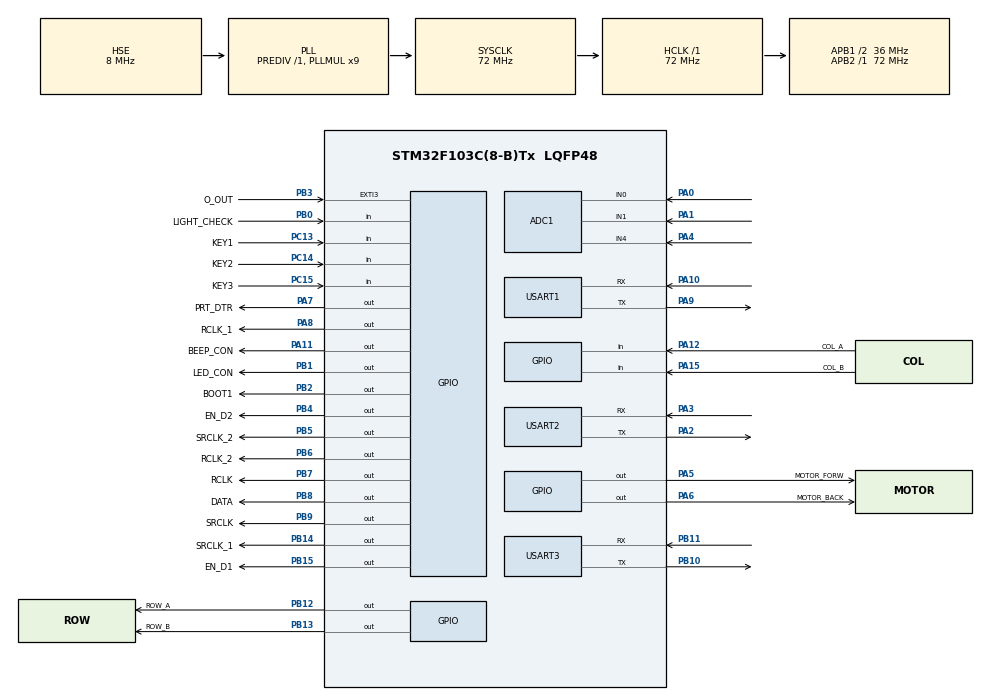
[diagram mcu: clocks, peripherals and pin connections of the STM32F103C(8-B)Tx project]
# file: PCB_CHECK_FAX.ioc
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ADC1.Channel-0\#ChannelRegularConversion=ADC_CHANNEL_0
ADC1.Channel-1\#ChannelRegularConversion=ADC_CHANNEL_1
ADC1.Channel-2\#ChannelRegularConversion=ADC_CHANNEL_4
ADC1.DiscontinuousConvMode=ENABLE
ADC1.NbrOfConversion=3
ADC1.NbrOfConversionFlag=1
ADC1.Rank-0\#ChannelRegularConversion=1
ADC1.Rank-1\#ChannelRegularConversion=2
ADC1.Rank-2\#ChannelRegularConversion=3
ADC1.SamplingTime-0\#ChannelRegularConversion=ADC_SAMPLETIME_13CYCLES_5
ADC1.SamplingTime-1\#ChannelRegularConversion=ADC_SAMPLETIME_13CYCLES_5
ADC1.SamplingTime-2\#ChannelRegularConversion=ADC_SAMPLETIME_13CYCLES_5
ADC1.master=1
Mcu.Family=STM32F1
Mcu.Name=STM32F103C(8-B)Tx
Mcu.Package=LQFP48
NVIC.ADC1_2_IRQn=true\:0\:0\:false\:false\:true\:true\:true
NVIC.EXTI3_IRQn=true\:0\:0\:false\:false\:true\:true\:true
NVIC.PriorityGroup=NVIC_PRIORITYGROUP_4
NVIC.USART1_IRQn=true\:0\:0\:false\:false\:true\:true\:true
NVIC.USART2_IRQn=true\:0\:0\:false\:false\:true\:true\:true
NVIC.USART3_IRQn=true\:0\:0\:false\:false\:true\:true\:true
PA0-WKUP.Signal=ADCx_IN0
PA1.Signal=ADCx_IN1
PA10.Mode=Asynchronous
PA10.Signal=USART1_RX
PA11.GPIO_Label=BEEP_CON
PA11.Signal=GPIO_Output
PA12.GPIO_Label=COL_A
PA12.Signal=GPIO_Input
PA13.Mode=Serial_Wire
PA13.Signal=SYS_JTMS-SWDIO
PA14.Mode=Serial_Wire
PA14.Signal=SYS_JTCK-SWCLK
PA15.GPIO_Label=COL_B
PA15.Signal=GPIO_Input
PA2.Mode=Asynchronous
PA2.Signal=USART2_TX
PA3.Mode=Asynchronous
PA3.Signal=USART2_RX
PA4.Signal=ADCx_IN4
PA5.GPIO_Label=MOTOR_FORW
PA5.Signal=GPIO_Output
PA6.GPIO_Label=MOTOR_BACK
PA6.Signal=GPIO_Output
PA7.GPIO_Label=PRT_DTR
PA7.Signal=GPIO_Output
PA8.GPIO_Label=RCLK_1
PA8.Signal=GPIO_Output
PA9.Mode=Asynchronous
PA9.Signal=USART1_TX
PB0.GPIO_Label=LIGHT_CHECK
PB0.Signal=GPIO_Input
PB1.GPIO_Label=LED_CON
PB1.Signal=GPIO_Output
PB10.Mode=Asynchronous
PB10.Signal=USART3_TX
PB11.Mode=Asynchronous
PB11.Signal=USART3_RX
PB12.GPIO_Label=ROW_A
PB12.Signal=GPIO_Output
PB13.GPIO_Label=ROW_B
PB13.Signal=GPIO_Output
PB14.GPIO_Label=SRCLK_1
PB14.Signal=GPIO_Output
PB15.GPIO_Label=EN_D1
PB15.Signal=GPIO_Output
PB2.GPIO_Label=BOOT1
PB2.Signal=GPIO_Output
PB3.GPIO_Label=O_OUT
PB3.GPIO_ModeDefaultEXTI=GPIO_MODE_IT_RISING_FALLING
PB3.Signal=GPXTI3
PB4.GPIO_Label=EN_D2
PB4.Signal=GPIO_Output
PB5.GPIO_Label=SRCLK_2
PB5.Signal=GPIO_Output
PB6.GPIO_Label=RCLK_2
PB6.Signal=GPIO_Output
PB7.GPIO_Label=RCLK
PB7.Signal=GPIO_Output
PB8.GPIO_Label=DATA
PB8.Signal=GPIO_Output
PB9.GPIO_Label=SRCLK
PB9.Signal=GPIO_Output
PC13-TAMPER-RTC.GPIO_Label=KEY1
PC13-TAMPER-RTC.Signal=GPIO_Input
PC14-OSC32_IN.GPIO_Label=KEY2
PC14-OSC32_IN.Signal=GPIO_Input
PC15-OSC32_OUT.GPIO_Label=KEY3
PC15-OSC32_OUT.Signal=GPIO_Input
PD0-OSC_IN.Mode=HSE-External-Oscillator
PD0-OSC_IN.Signal=RCC_OSC_IN
PD1-OSC_OUT.Mode=HSE-External-Oscillator
PD1-OSC_OUT.Signal=RCC_OSC_OUT
ProjectManager.HeapSize=0x800
ProjectManager.StackSize=0x800
ProjectManager.TargetToolchain=EWARM V8.32
RCC.ADCPresc=RCC_ADCPCLK2_DIV6
RCC.AHBFreq_Value=72000000
RCC.APB1CLKDivider=RCC_HCLK_DIV2
RCC.APB1Freq_Value=36000000
RCC.APB1TimFreq_Value=72000000
RCC.APB2Freq_Value=72000000
RCC.APB2TimFreq_Value=72000000
RCC.HCLKFreq_Value=72000000
RCC.PLLMUL=RCC_PLL_MUL9
RCC.PLLSourceVirtual=RCC_PLLSOURCE_HSE
RCC.SYSCLKFreq_VALUE=72000000
RCC.SYSCLKSource=RCC_SYSCLKSOURCE_PLLCLK
RCC.USBFreq_Value=72000000
SH.ADCx_IN0.0=ADC1_IN0,IN0
SH.ADCx_IN1.0=ADC1_IN1,IN1
SH.ADCx_IN4.0=ADC1_IN4,IN4
USART1.VirtualMode=VM_ASYNC
USART2.VirtualMode=VM_ASYNC
USART3.VirtualMode=VM_ASYNC
board=custom

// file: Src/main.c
/* USER CODE BEGIN Header */
/**
  ******************************************************************************
  * @file           : main.c
  * @brief          : Main program body
  ******************************************************************************
  * @attention
  *
  * <h2><center>&copy; Copyright (c) 2020 STMicroelectronics.
  * All rights reserved.</center></h2>
  *
  * This software component is licensed by ST under BSD 3-Clause license,
  * the "License"; You may not use this file except in compliance with the
  * License. You may obtain a copy of the License at:
  *                        opensource.org/licenses/BSD-3-Clause
  *
  ******************************************************************************
  */
/* USER CODE END Header */

#include "main.h"
#include "adc.h"
#include "usart.h"
#include "gpio.h"

/* USER CODE BEGIN Includes */
#include "../source/INCLUDE_EXT.h"
/* USER CODE END Includes */

void SystemClock_Config(void);

int main(void)
{

  /* MCU Configuration--------------------------------------------------------*/

  /* Reset of all peripherals, Initializes the Flash interface and the Systick. */
  HAL_Init();

  /* Configure the system clock */
  SystemClock_Config();

  /* Initialize all configured peripherals */
  MX_GPIO_Init();
  MX_ADC1_Init();
  MX_USART1_UART_Init();
  MX_USART2_UART_Init();
  MX_USART3_UART_Init();
  /* USER CODE BEGIN 2 */

	//

	GLOBAL_USART1_UART_Init(57600);

	//校准ADC
	MX_ADC1_Init();
	HAL_ADC_Start(&hadc1);
	//HAL_ADC_Start_IT(&hadc1);
	//HAL_ADC_Start_DMA(&hadc1);
  //ADC_ConvertedValueLocal =(float) ADC_ConvertedValue/4096*3.3; //不同的类型有不同的转换公式，但一般都要除以4096
	HAL_ADCEx_Calibration_Start(&hadc1);//校准
	//if(HAL_ADC_Start_IT(&hadc1) != HAL_OK){ Error_Handler(); }

    // 电源管理时钟使能
    //__HAL_RCC_PWR_CLK_ENABLE();

	HAL_UART_Receive_IT( &huart1 , &RxByte1, 1);
	__HAL_UART_ENABLE_IT(&huart1, UART_IT_RXNE);
	huart1.Instance->SR = 0;

	HAL_UART_Receive_IT( &huart2 , &RxByte2, 1);
	__HAL_UART_ENABLE_IT(&huart2, UART_IT_RXNE);
	huart2.Instance->SR = 0;

	HAL_UART_Receive_IT( &huart3 , &RxByte3, 1);
	__HAL_UART_ENABLE_IT(&huart3, UART_IT_RXNE);
	huart3.Instance->SR = 0;

	__disable_irq();//关

	PrintfLogo();

	//printf("-------------------------集成主机系统----------------------------\r\n");
	//printf("----------------------------欢迎使用-----------------------------\r\n");
	//printf("------------技术提供：深圳富奥星智能科技有限公司－－胡显辉-------\r\n");
	//printf("产品功能：多路雷达模组测试系统！\r\n");

	printf("---------------------------------------------------------\r\n");
	printf("-------------------Integrated host system----------------\r\n");
	printf("-------------------Welcome to--------------------\r\n");
	printf("--Technology: Hu Xianhui, phosense Technology Co., Ltd--\r\n");
	printf("--Function: multi channel radar module test system!--\r\n");

	Clock_Init();

	System_Init();

	Soft_Init();

	Hardware_Init();

	Data_Init();

    __enable_irq();//打开中断使能

	Start_Init();

  /* USER CODE END 2 */

  /* Infinite loop */
  while (1)
  {

    /* USER CODE BEGIN 3 */
		Scheduler_Init();
  }
  /* USER CODE END 3 */
}

void SystemClock_Config(void)
{
  RCC_OscInitTypeDef RCC_OscInitStruct = {0};
  RCC_ClkInitTypeDef RCC_ClkInitStruct = {0};
  RCC_PeriphCLKInitTypeDef PeriphClkInit = {0};

  /** Initializes the CPU, AHB and APB busses clocks
  */
  RCC_OscInitStruct.OscillatorType = RCC_OSCILLATORTYPE_HSE;
  RCC_OscInitStruct.HSEState = RCC_HSE_ON;
  RCC_OscInitStruct.HSEPredivValue = RCC_HSE_PREDIV_DIV1;
  RCC_OscInitStruct.HSIState = RCC_HSI_ON;
  RCC_OscInitStruct.PLL.PLLState = RCC_PLL_ON;
  RCC_OscInitStruct.PLL.PLLSource = RCC_PLLSOURCE_HSE;
  RCC_OscInitStruct.PLL.PLLMUL = RCC_PLL_MUL9;
  if (HAL_RCC_OscConfig(&RCC_OscInitStruct) != HAL_OK)
  {
    Error_Handler();
  }
  /** Initializes the CPU, AHB and APB busses clocks
  */
  RCC_ClkInitStruct.ClockType = RCC_CLOCKTYPE_HCLK|RCC_CLOCKTYPE_SYSCLK
                              |RCC_CLOCKTYPE_PCLK1|RCC_CLOCKTYPE_PCLK2;
  RCC_ClkInitStruct.SYSCLKSource = RCC_SYSCLKSOURCE_PLLCLK;
  RCC_ClkInitStruct.AHBCLKDivider = RCC_SYSCLK_DIV1;
  RCC_ClkInitStruct.APB1CLKDivider = RCC_HCLK_DIV2;
  RCC_ClkInitStruct.APB2CLKDivider = RCC_HCLK_DIV1;

  if (HAL_RCC_ClockConfig(&RCC_ClkInitStruct, FLASH_LATENCY_2) != HAL_OK)
  {
    Error_Handler();
  }
  PeriphClkInit.PeriphClockSelection = RCC_PERIPHCLK_ADC;
  PeriphClkInit.AdcClockSelection = RCC_ADCPCLK2_DIV6;
  if (HAL_RCCEx_PeriphCLKConfig(&PeriphClkInit) != HAL_OK)
  {
    Error_Handler();
  }
}

void Error_Handler(void)
{
}

/************************ (C) COPYRIGHT STMicroelectronics *****END OF FILE****/
